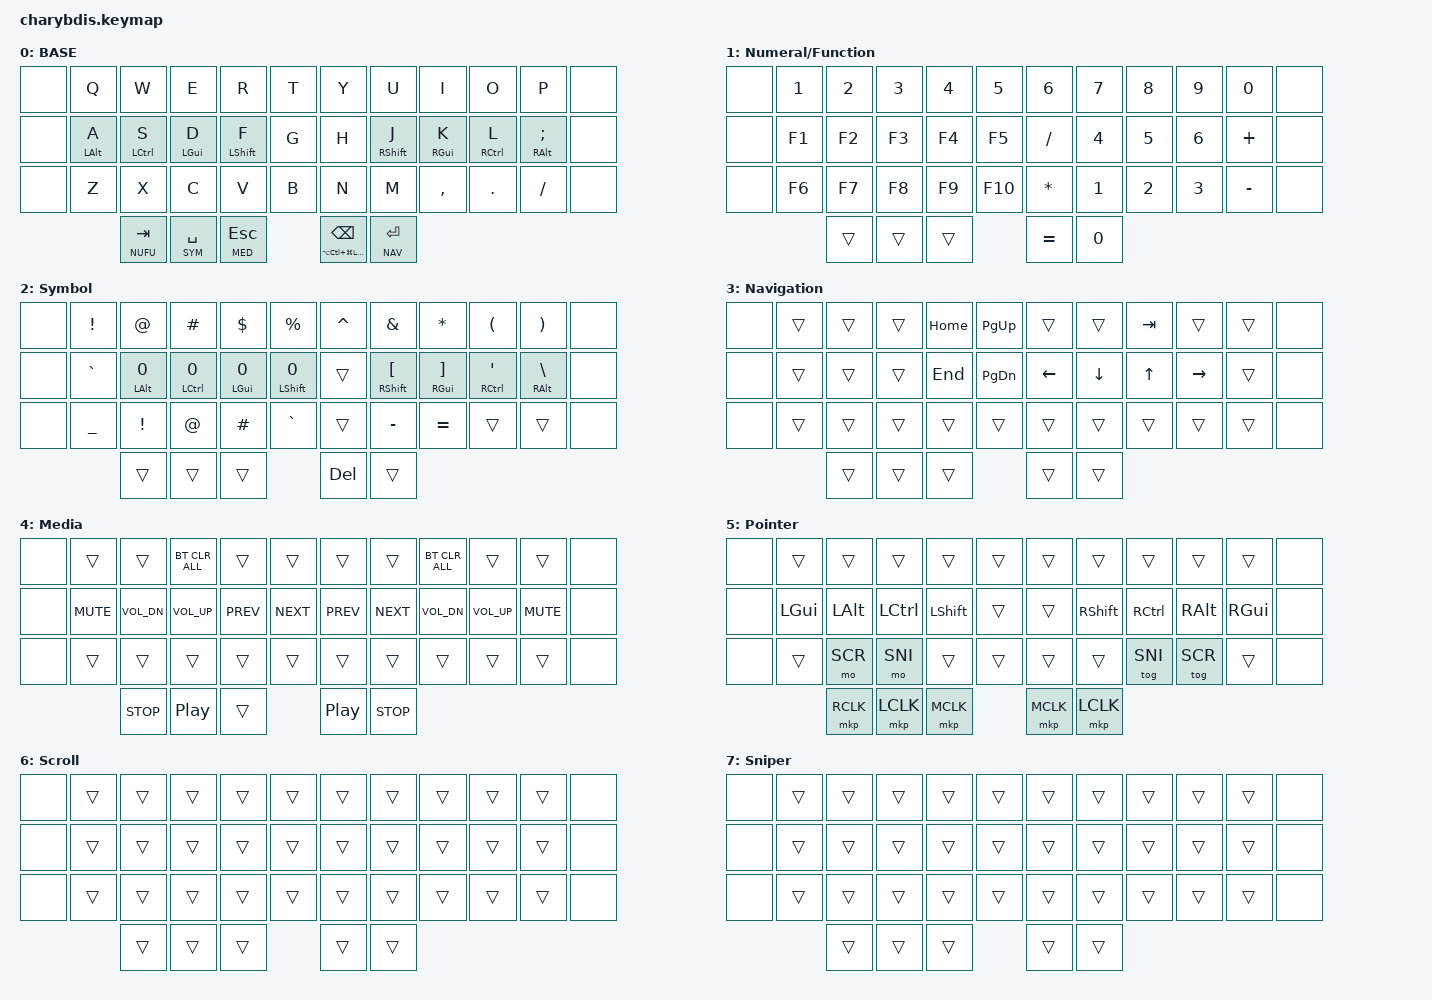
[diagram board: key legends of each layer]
#include <behaviors.dtsi>
#include <dt-bindings/zmk/bt.h>
#include <dt-bindings/zmk/keys.h>
#include <dt-bindings/zmk/mouse.h>
#include <dt-bindings/zmk/outputs.h>
#include <behaviors/mouse_keys.dtsi>
#include <dt-bindings/zmk/ext_power.h>
#include "macros.dtsi"
#include "behaviors.dtsi"
#include "combos.dtsi"

/ {
    /* input config for mouse move mode */
    trackball_listener {
        compatible = "zmk,input-behavior-listener";
        device = <&vtrackball>;
        layers = <0 2 7>;
        evt-type = <INPUT_EV_REL>;
        x-input-code = <INPUT_REL_X>;
        y-input-code = <INPUT_REL_Y>;
        scale-multiplier = <4>;
        scale-divisor = <5>;
        // bindings = <&ib_toggle_layer 7>;
    };

    /* input config for snipe mode */
    trackball_snipe_listener {
        compatible = "zmk,input-behavior-listener";   
        device = <&vtrackball>;
        layers = <8>;
        evt-type = <INPUT_EV_REL>;
        x-input-code = <INPUT_REL_X>;
        y-input-code = <INPUT_REL_Y>;
        scale-multiplier = <1>;
        scale-divisor = <6>;
    };

    /* input config for mouse scroll mode */
    trackball_scroll_listener {
        compatible = "zmk,input-behavior-listener";
        device = <&vtrackball>;
        layers = <9>;
        evt-type = <INPUT_EV_REL>;            
        x-input-code = <INPUT_REL_MISC>;
        y-input-code = <INPUT_REL_WHEEL>;
        y-invert;
        bindings = <&ib_wheel_scaler 1 14>;
    };

    /* define a resolution down scaler only for INPUT_REL_WHEEL */
    ib_wheel_scaler: ib_wheel_scaler {
        compatible = "zmk,input-behavior-scaler";
        #binding-cells = <2>;
        evt-type = <INPUT_EV_REL>;
        input-code = <INPUT_REL_WHEEL>;
    };

    /* adjust cooldown waiting period for mouse key layer after activated */
    ib_toggle_layer: ib_toggle_layer {
        compatible = "zmk,input-behavior-tog-layer";
        #binding-cells = <1>;
        time-to-live-ms = <750>;
    };
// ╭──────┬──────┬──────┬──────┬──────┬──────╮  ╭──────┬──────┬──────┬──────┬──────┬──────╮
//    00     01     02     03    04      05        06     07     08     09     10     11
// ├──────┼──────┼──────┼──────┼──────┼──────┤  ├──────┼──────┼──────┼──────┼──────┼──────┤
//    12     13     14     15    16      17        18     19     20     21     22     23
// ├──────┼──────┼──────┼──────┼──────┼──────┤  ├──────┼──────┼──────┼──────┼──────┼──────┤
//    24     25     26     27    28      29        30     31     32     33     34     35
// ╰──────┴──────┴──────┼──────┼──────┼──────┤  ├──────┼──────┼──────┴──────┴──────┴──────╯
//                         36     37     38        39     40
//                      ╰──────┴──────┴──────╯  ╰──────┴──────╯
#define BASE 0
#define NUFU 1
#define SYM 2
#define NAV 3
#define MED 4
#define POI 5
#define SCR 6
#define SNI 7

    keymap {
        compatible = "zmk,keymap";
        BASE {
            bindings = <
// ╭────────────────┬──────────────┬─────────────────────────────┬──────────────────────────────────┬──────────────────────┬────────╮  ╭────────────────┬─────────────────────────┬──────────────────────────────────────┬────────────────────────────────────┬────────────────────────┬──────────────╮
    &none             &kp Q           &kp W                          &kp E                              &kp R                  &kp T       &kp Y             &kp U                   &kp I                                   &kp O                                &kp P                    &none
// ├────────────────┼──────────────┼─────────────────────────────┼──────────────────────────────────┼──────────────────────┼────────┤  ├────────────────┼─────────────────────────┼──────────────────────────────────────┼────────────────────────────────────┼────────────────────────┼──────────────┤
    &none            &hm_left LALT A    &hm_left LCTRL S            &hm_left LGUI D                   &hm_left LSHIFT F      &kp G       &kp H             &hm_right RSHIFT J          &hm_right RGUI K                       &hm_right RCTRL L                &hm_right RALT SEMICOLON &none
// ├────────────────┼──────────────┼─────────────────────────────┼──────────────────────────────────┼──────────────────────┼────────┤  ├────────────────┼─────────────────────────┼──────────────────────────────────────┼────────────────────────────────────┼────────────────────────┼──────────────┤
    &none                &kp Z        &kp X                        &kp C                              &kp V                  &kp B       &kp N             &kp M                       &kp COMMA                              &kp PERIOD                          &kp SLASH                 &none
// ╰────────────────┴──────────────┴─────────────────────────────┼──────────────────────────────────┼──────────────────────┼────────┤  ├────────────────┼─────────────────────────┼──────────────────────────────────────┴────────────────────────────────────┴────────────────────────┴──────────────╯
                                                                               &lt NUFU TAB    &lt SYM SPACE     &lt MED ESC             &hm_left LA(LC(LG(LEFT_SHIFT))) BACKSPACE    &lt NAV ENTER
                                                                          // ╰─────────────┴──────────────────┴────────╯               ╰───────----------------------------─────────┴──────────────╯
            >;
        };

        NuFu {
            label = "Numeral/Function";
            bindings = <
                &none &kp N1  &kp N2  &kp N3  &kp N4 &kp N5        &kp N6  &kp N7  &kp N8  &kp N9  &kp N0 &none
                &none &kp F1  &kp F2  &kp F3  &kp F4 &kp F5        &kp SLASH  &kp N4  &kp N5  &kp N6  &kp PLUS &none
                &none &kp F6  &kp F7  &kp F8  &kp F9 &kp F10        &kp ASTRK  &kp N1  &kp N2  &kp N3  &kp MINUS &none
                                &trans  &trans  &trans        &kp EQUAL &kp N0
            >;
        };

        Symbol {
            label = "Symbol";
            bindings = <
              &none &kp EXCL &kp AT  &kp HASH   &kp DLLR    &kp PRCNT        &kp CARET  &kp AMPS  &kp ASTRK  &kp LPAR  &kp RPAR &none 
              &none &kp GRAVE &hm_left LALT 0 &hm_left LCTRL 0  &hm_left LGUI 0 &hm_left LSHFT 0                  &trans &hm_right RSHFT LBKT  &hm_right RGUI RBKT  &hm_right RCTRL APOS &hm_right RALT BSLH &none 
              &none &kp UNDER &kp EXCL  &kp AT     &kp HASH  &kp GRAVE       &trans &kp MINUS &kp EQUAL &trans  &trans &none 
                                  &trans     &trans    &trans          &kp DELETE &trans
            >;
        };

  Navigation {
            label = "Navigation";
            bindings = <
                         &none &trans  &trans  &trans  &kp HOME  &kp PAGE_UP         &trans    &trans         &kp TAB      &trans    &trans &none 
                         &none &trans  &trans  &trans  &kp END  &kp PAGE_DOWN         &kp LEFT  &kp DOWN       &kp UP       &kp RIGHT &trans &none 
                         &none &trans  &trans  &trans  &trans  &trans         &trans   &trans    &trans         &trans       &trans &none 
                                         &trans  &trans  &trans         &trans    &trans
            >;
        };

        Media {
            label = "Media";
            bindings = <
              &none &trans     &trans        &bt BT_CLR_ALL &trans       &trans            &trans      &trans        &bt BT_CLR_ALL  &trans        &trans &none 
              &none &kp C_MUTE &kp C_VOL_DN  &kp C_VOL_UP     &kp C_PREV &kp C_NEXT        &kp C_PREV  &kp C_NEXT  &kp C_VOL_DN      &kp C_VOL_UP  &kp C_MUTE &none 
              &none &trans     &trans        &trans         &trans       &trans            &trans      &trans        &trans          &trans        &trans &none 
                                       &kp C_STOP    &kp C_PLAY_PAUSE  &trans        &kp C_PLAY_PAUSE  &kp C_STOP 
            >;
        };

        Pointer {
            label = "Pointer";
            bindings = <
              &none &trans       &trans       &trans        &trans        &trans               &trans &trans        &trans        &trans       &trans &none 
              &none &kp LGUI     &kp LALT     &kp LCTRL     &kp LSHFT     &trans               &trans &kp RSHFT     &kp RCTRL     &kp RALT     &kp RGUI &none 
              &none &trans       &mo SCR      &mo SNI       &trans        &trans               &trans &trans        &tog SNI      &tog SCR     &trans &none 
                                            &mkp RCLK  &mkp LCLK  &mkp MCLK         &mkp MCLK  &mkp LCLK
            >;
        };

        Scroll {
            label = "Scroll";
            bindings = <
                &none &trans  &trans  &trans  &trans  &trans    &trans  &trans  &trans  &trans  &trans &none 
                &none &trans  &trans  &trans  &trans  &trans    &trans  &trans  &trans  &trans  &trans &none 
                &none &trans  &trans  &trans  &trans  &trans    &trans  &trans  &trans  &trans  &trans &none 
                                &trans  &trans  &trans    &trans  &trans 
            >;
        };

        Sniper {
            label = "Sniper";
            bindings = <
                &none &trans  &trans  &trans  &trans  &trans    &trans  &trans  &trans  &trans  &trans &none 
                &none &trans  &trans  &trans  &trans  &trans    &trans  &trans  &trans  &trans  &trans &none 
                &none &trans  &trans  &trans  &trans  &trans    &trans  &trans  &trans  &trans  &trans &none 
                                &trans  &trans  &trans    &trans  &trans 
            >;
        };



    };
};
